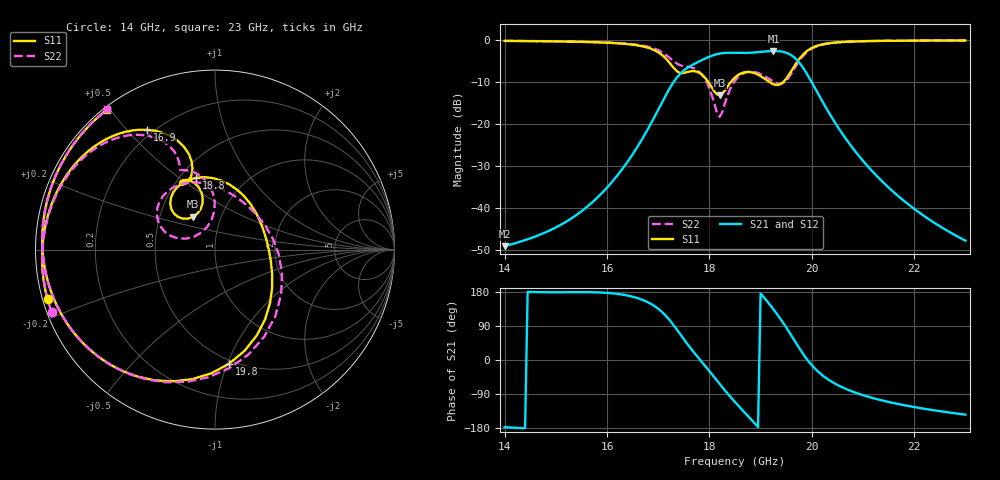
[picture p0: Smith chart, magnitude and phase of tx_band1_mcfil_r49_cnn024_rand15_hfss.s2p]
! Touchstone file exported from HFSS 3D Layout Design 2026.1.0
!  File:  D:/Work/SIM/ADS_AUTO_SIM/projects/RFSOC_RF/TX_Fillter.aedt
!  Generated:  04:56:32 AM Aug 31, 2026
!  Design:  TX_BAND1_MCFIL_R49_CNN024
!  Project:  TX_Fillter
# GHz S MA R 50.000000
! Terminal data exported
! Port[1] = Port1
! Port[2] = Port2
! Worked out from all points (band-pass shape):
!   181 points, 14 GHz to 23 GHz, reference 50 ohm
!   highest |S21| = -2.64 dB at 19.25 GHz (marker M1); lowest = -49.1 dB at 14 GHz (marker M2)
!   |S21| within 3 dB of the highest: 17.72 GHz to 19.77 GHz (2.053 GHz wide, 11 % of centre)
!   lowest |S11| = -13.2 dB at 18.2 GHz (marker M3), VSWR 1.56, Z = 36.9 + j14.1 ohm
!   |S11| at or under -10 dB: 17.98 GHz to 18.42 GHz (444 MHz wide, 2.44 % of centre); 19.17 GHz to 19.44 GHz (274.4 MHz wide, 1.42 % of centre)
!   |S22| runs from -18.3 to -0.1 dB; largest |S21 - S12| = 1.5e-14
!   S11 on the Smith chart (normalised r, x): 14 GHz: 0.01, -0.15; 16.9 GHz: 0.18, +0.57; 18.8 GHz: 0.60, +0.58; 19.8 GHz: 0.47, -1.02; 23 GHz: 0.01, +0.49
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14  0.9737 -163.4  0.003521 -177.3  0.003521 -177.3  0.9751 -159.0
15.5  0.9483 166.9  0.009146 179.0  0.009146 179.0  0.9518 171.8
16.3  0.9029 144.9  0.02917 172.7  0.02917 172.7  0.9116 150.6
16.9  0.7668 119.5  0.1132 144.7  0.1132 144.7  0.7976 127.0
17  0.7128 114.1  0.1479 135.2  0.1479 135.2  0.7538 122.2
17.25  0.5088 104.8  0.2823 100.8  0.2823 100.8  0.5922 112.6
17.55  0.4114 117.9  0.4555 45.7  0.4555 45.7  0.4822 113.2
17.9  0.363 104.9  0.5942 -13.0  0.5942 -13.0  0.353 94.6
18.2  0.2193 123.6  0.6879 -63.0  0.6879 -63.0  0.1217 129.0
18.5  0.3578 134.2  0.7018 -111.0  0.7018 -111.0  0.3282 157.2
18.8  0.4139 104.6  0.7032 -154.7  0.7032 -154.7  0.4186 128.9
19.05  0.355 69.4  0.7249 167.6  0.7249 167.6  0.3783 100.8
19.25  0.2967 32.1  0.738 134.0  0.738 134.0  0.3199 71.7
19.5  0.3458 -23.0  0.7042 86.0  0.7042 86.0  0.3281 10.4
19.65  0.4777 -54.2  0.6245 53.8  0.6245 53.8  0.4454 -34.1
19.8  0.6405 -82.9  0.4939 22.0  0.4939 22.0  0.6133 -72.3
20  0.8014 -114.6  0.3125 -13.8  0.3125 -13.8  0.7875 -110.2
20.25  0.8955 -142.1  0.1668 -44.9  0.1668 -44.9  0.891 -140.7
20.5  0.9349 -160.6  0.09376 -65.8  0.09376 -65.8  0.9339 -160.3
20.9  0.9616 179.3  0.04319 -88.4  0.04319 -88.4  0.962 179.1
21.5  0.9764 159.4  0.01754 -110.7  0.01754 -110.7  0.977 159.0
23  0.985 127.8  0.004097 -144.2  0.004097 -144.2  0.9853 127.5
